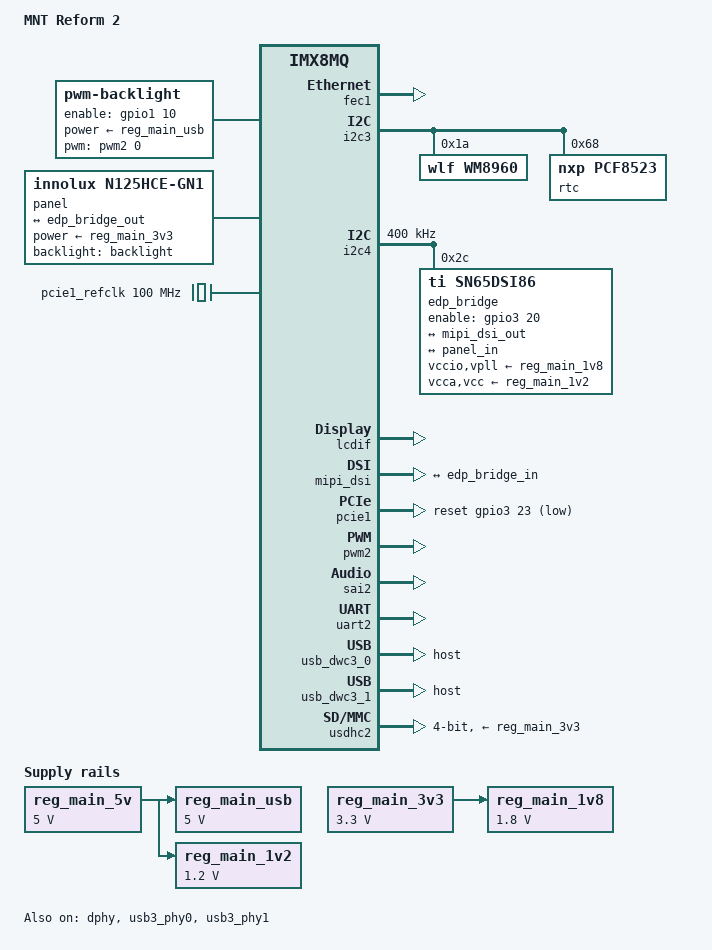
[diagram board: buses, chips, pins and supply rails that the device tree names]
// SPDX-License-Identifier: (GPL-2.0+ OR MIT)

/*
 * Copyright 2019-2021 MNT Research GmbH
 * Copyright 2021 Lucas Stach <dev@lynxeye.de>
 */

/dts-v1/;

#include "imx8mq-nitrogen-som.dtsi"

/ {
	model = "MNT Reform 2";
	compatible = "mntre,reform2", "boundary,imx8mq-nitrogen8m-som", "fsl,imx8mq";
	chassis-type = "laptop";

	backlight: backlight {
		compatible = "pwm-backlight";
		pinctrl-names = "default";
		pinctrl-0 = <&pinctrl_backlight>;
		pwms = <&pwm2 0 10000>;
		power-supply = <&reg_main_usb>;
		enable-gpios = <&gpio1 10 GPIO_ACTIVE_HIGH>;
		brightness-levels = <0 32 64 128 160 200 255>;
		default-brightness-level = <6>;
	};

	panel {
		compatible = "innolux,n125hce-gn1", "simple-panel";
		power-supply = <&reg_main_3v3>;
		backlight = <&backlight>;
		no-hpd;

		port {
			panel_in: endpoint {
				remote-endpoint = <&edp_bridge_out>;
			};
		};
	};

	pcie1_refclk: clock-pcie1-refclk {
		compatible = "fixed-clock";
		#clock-cells = <0>;
		clock-frequency = <100000000>;
	};

	reg_main_5v: regulator-main-5v {
		compatible = "regulator-fixed";
		regulator-name = "5V";
		regulator-min-microvolt = <5000000>;
		regulator-max-microvolt = <5000000>;
	};

	reg_main_3v3: regulator-main-3v3 {
		compatible = "regulator-fixed";
		regulator-name = "3V3";
		regulator-min-microvolt = <3300000>;
		regulator-max-microvolt = <3300000>;
	};

	reg_main_usb: regulator-main-usb {
		compatible = "regulator-fixed";
		regulator-name = "USB_PWR";
		regulator-min-microvolt = <5000000>;
		regulator-max-microvolt = <5000000>;
		vin-supply = <&reg_main_5v>;
	};

	reg_main_1v8: regulator-main-1v8 {
		compatible = "regulator-fixed";
		regulator-name = "1V8";
		regulator-min-microvolt = <1800000>;
		regulator-max-microvolt = <1800000>;
		vin-supply = <&reg_main_3v3>;
	};

	reg_main_1v2: regulator-main-1v2 {
		compatible = "regulator-fixed";
		regulator-name = "1V2";
		regulator-min-microvolt = <1200000>;
		regulator-max-microvolt = <1200000>;
		vin-supply = <&reg_main_5v>;
	};

	sound {
		compatible = "fsl,imx-audio-wm8960";
		audio-cpu = <&sai2>;
		audio-codec = <&wm8960>;
		audio-routing =
			"Headphone Jack", "HP_L",
			"Headphone Jack", "HP_R",
			"Ext Spk", "SPK_LP",
			"Ext Spk", "SPK_LN",
			"Ext Spk", "SPK_RP",
			"Ext Spk", "SPK_RN",
			"LINPUT1", "Mic Jack",
			"Mic Jack", "MICB",
			"LINPUT2", "Line In Jack",
			"RINPUT2", "Line In Jack";
		model = "wm8960-audio";
	};
};

&dphy {
	assigned-clocks = <&clk IMX8MQ_CLK_DSI_PHY_REF>;
	assigned-clock-parents = <&clk IMX8MQ_SYS1_PLL_800M>;
	assigned-clock-rates = <25000000>;
	status = "okay";
};

&fec1 {
	status = "okay";
};

&i2c3 {
	pinctrl-names = "default";
	pinctrl-0 = <&pinctrl_i2c3>;
	status = "okay";

	wm8960: codec@1a {
		compatible = "wlf,wm8960";
		reg = <0x1a>;
		clocks = <&clk IMX8MQ_CLK_SAI2_ROOT>;
		clock-names = "mclk";
		#sound-dai-cells = <0>;
	};

	rtc@68 {
		compatible = "nxp,pcf8523";
		reg = <0x68>;
	};
};

&i2c4 {
	pinctrl-names = "default";
	pinctrl-0 = <&pinctrl_i2c4>;
	clock-frequency = <400000>;
	status = "okay";

	edp_bridge: bridge@2c {
		compatible = "ti,sn65dsi86";
		pinctrl-names = "default";
		pinctrl-0 = <&pinctrl_edp_bridge>;
		reg = <0x2c>;
		enable-gpios = <&gpio3 20 GPIO_ACTIVE_HIGH>;
		vccio-supply = <&reg_main_1v8>;
		vpll-supply = <&reg_main_1v8>;
		vcca-supply = <&reg_main_1v2>;
		vcc-supply = <&reg_main_1v2>;

		ports {
			#address-cells = <1>;
			#size-cells = <0>;

			port@0 {
				reg = <0>;

				edp_bridge_in: endpoint {
					remote-endpoint = <&mipi_dsi_out>;
				};
			};

			port@1 {
				reg = <1>;

				edp_bridge_out: endpoint {
					remote-endpoint = <&panel_in>;
				};
			};
		};
	};
};

&lcdif {
	assigned-clocks = <&clk IMX8MQ_CLK_LCDIF_PIXEL>;
	assigned-clock-parents = <&clk IMX8MQ_SYS1_PLL_800M>;
	/delete-property/assigned-clock-rates;
	status = "okay";
};

&mipi_dsi {
	status = "okay";

	ports {
		port@1 {
			reg = <1>;

			mipi_dsi_out: endpoint {
				remote-endpoint = <&edp_bridge_in>;
			};
		};
	};
};

&pcie1 {
	pinctrl-names = "default";
	pinctrl-0 = <&pinctrl_pcie1>;
	reset-gpio = <&gpio3 23 GPIO_ACTIVE_LOW>;
	clocks = <&clk IMX8MQ_CLK_PCIE2_ROOT>,
		 <&clk IMX8MQ_CLK_PCIE2_AUX>,
		 <&clk IMX8MQ_CLK_PCIE2_PHY>,
		 <&pcie1_refclk>;
	clock-names = "pcie", "pcie_aux", "pcie_phy", "pcie_bus";
	status = "okay";
};

&pwm2 {
	pinctrl-names = "default";
	pinctrl-0 = <&pinctrl_pwm2>;
	status = "okay";
};


&reg_1p8v {
	vin-supply = <&reg_main_5v>;
};

&reg_snvs {
	vin-supply = <&reg_main_5v>;
};

&reg_arm_dram {
	vin-supply = <&reg_main_5v>;
};

&reg_dram_1p1v {
	vin-supply = <&reg_main_5v>;
};

&reg_soc_gpu_vpu {
	vin-supply = <&reg_main_5v>;
};

&sai2 {
	pinctrl-names = "default";
	pinctrl-0 = <&pinctrl_sai2>;
	assigned-clocks = <&clk IMX8MQ_CLK_SAI2>;
	assigned-clock-parents = <&clk IMX8MQ_CLK_25M>;
	assigned-clock-rates = <25000000>;
	fsl,sai-mclk-direction-output;
	fsl,sai-asynchronous;
	status = "okay";
};

&snvs_rtc {
	status = "disabled";
};

&uart2 {
	pinctrl-names = "default";
	pinctrl-0 = <&pinctrl_uart2>;
	status = "okay";
};

&usb3_phy0 {
	vbus-supply = <&reg_main_usb>;
	status = "okay";
};

&usb3_phy1 {
	vbus-supply = <&reg_main_usb>;
	status = "okay";
};

&usb_dwc3_0 {
	dr_mode = "host";
	status = "okay";
};

&usb_dwc3_1 {
	dr_mode = "host";
	status = "okay";
};

&usdhc2 {
	assigned-clocks = <&clk IMX8MQ_CLK_USDHC2>;
	assigned-clock-rates = <200000000>;
	pinctrl-names = "default";
	pinctrl-0 = <&pinctrl_usdhc2>;
	vqmmc-supply = <&reg_main_3v3>;
	vmmc-supply = <&reg_main_3v3>;
	bus-width = <4>;
	status = "okay";
};

&iomuxc {
	pinctrl_backlight: backlightgrp {
		fsl,pins = <
			MX8MQ_IOMUXC_GPIO1_IO10_GPIO1_IO10		0x3
		>;
	};

	pinctrl_edp_bridge: edpbridgegrp {
		fsl,pins = <
			MX8MQ_IOMUXC_SAI5_RXC_GPIO3_IO20		0x1
		>;
	};

	pinctrl_i2c3: i2c3grp {
		fsl,pins = <
			MX8MQ_IOMUXC_I2C3_SCL_I2C3_SCL			0x4000007f
			MX8MQ_IOMUXC_I2C3_SDA_I2C3_SDA			0x4000007f
		>;
	};

	pinctrl_i2c4: i2c4grp {
		fsl,pins = <
			MX8MQ_IOMUXC_I2C4_SCL_I2C4_SCL			0x40000022
			MX8MQ_IOMUXC_I2C4_SDA_I2C4_SDA			0x40000022
		>;
	};

	pinctrl_pcie1: pcie1grp {
		fsl,pins = <
			MX8MQ_IOMUXC_SAI5_RXD2_GPIO3_IO23		0x16
		>;
	};

	pinctrl_pwm2: pwm2grp {
		fsl,pins = <
			MX8MQ_IOMUXC_SPDIF_RX_PWM2_OUT			0x3
		>;
	};

	pinctrl_sai2: sai2grp {
		fsl,pins = <
			MX8MQ_IOMUXC_SAI2_RXD0_SAI2_RX_DATA0		0xd6
			MX8MQ_IOMUXC_SAI2_RXFS_SAI2_RX_SYNC		0xd6
			MX8MQ_IOMUXC_SAI2_TXC_SAI2_TX_BCLK		0xd6
			MX8MQ_IOMUXC_SAI2_TXFS_SAI2_TX_SYNC		0xd6
			MX8MQ_IOMUXC_SAI2_RXC_SAI2_RX_BCLK		0xd6
			MX8MQ_IOMUXC_SAI2_MCLK_SAI2_MCLK		0xd6
			MX8MQ_IOMUXC_SAI2_TXD0_SAI2_TX_DATA0		0xd6
		>;
	};

	pinctrl_uart2: uart2grp {
		fsl,pins = <
			MX8MQ_IOMUXC_UART2_RXD_UART2_DCE_RX		0x45
			MX8MQ_IOMUXC_UART2_TXD_UART2_DCE_TX		0x45
		>;
	};

	pinctrl_usdhc2: usdhc2grp {
		fsl,pins = <
			MX8MQ_IOMUXC_SD2_CD_B_USDHC2_CD_B		0x0
			MX8MQ_IOMUXC_SD2_CLK_USDHC2_CLK			0x83
			MX8MQ_IOMUXC_SD2_CMD_USDHC2_CMD			0xc3
			MX8MQ_IOMUXC_SD2_DATA0_USDHC2_DATA0		0xc3
			MX8MQ_IOMUXC_SD2_DATA1_USDHC2_DATA1		0xc3
			MX8MQ_IOMUXC_SD2_DATA2_USDHC2_DATA2		0xc3
			MX8MQ_IOMUXC_SD2_DATA3_USDHC2_DATA3		0xc3
		>;
	};
};
